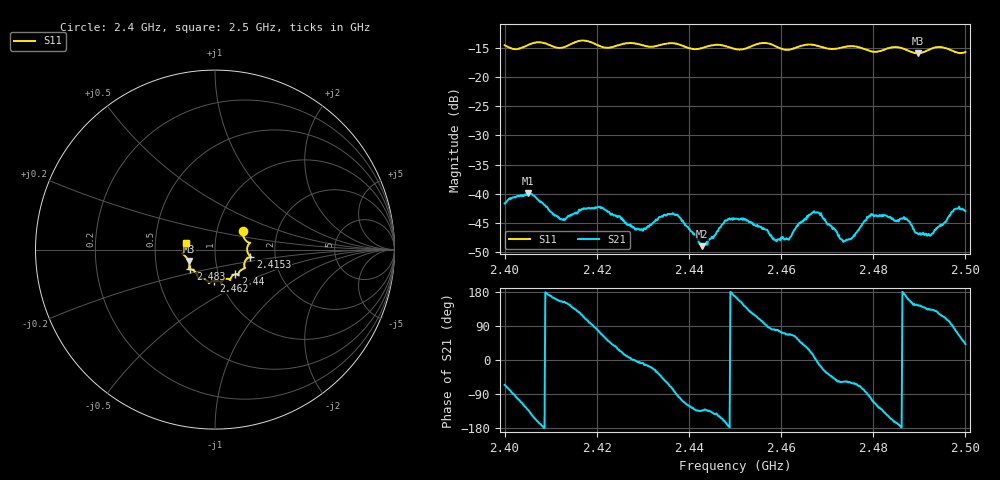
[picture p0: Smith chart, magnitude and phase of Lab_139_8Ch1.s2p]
# Hz S RI R 50
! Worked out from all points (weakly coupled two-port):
!   601 points, 2.4 GHz to 2.5 GHz, reference 50 ohm
!   highest |S21| = -39.95 dB at 2.405 GHz (marker M1); lowest = -49.0 dB at 2.4428 GHz (marker M2)
!   lowest |S11| = -15.9 dB at 2.4897 GHz (marker M3), VSWR 1.38, Z = 36.9 - j4.81 ohm
!   |S11| at or under -10 dB: start of sweep to end of sweep
!   S12 and S22 are empty: the file has one direction only
!   S11 on the Smith chart (normalised r, x): 2.4 GHz: 1.33, +0.29; 2.4153 GHz: 1.48, -0.12; 2.44 GHz: 1.20, -0.34; 2.462 GHz: 0.93, -0.33; 2.483 GHz: 0.74, -0.17; 2.5 GHz: 0.72, +0.06
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2.4e9  0.1552 0.1063  0.00339 -0.00752  0 0  0 0
2.405e9  0.1841 0.0406  -0.00657 -0.00762  0 0  0 0
2.412167e9  0.1788 -0.00252  -0.00545 0.00256  0 0  0 0
2.415333e9  0.1967 -0.0387  -0.00469 0.00488  0 0  0 0
2.416667e9  0.2023 -0.0428  -0.00361 0.00643  0 0  0 0
2.420833e9  0.1765 -0.0522  0.00252 0.00708  0 0  0 0
2.428833e9  0.1626 -0.1049  0.005 -0.000463  0 0  0 0
2.433333e9  0.1312 -0.1336  0.00501 -0.00351  0 0  0 0
2.437e9  0.132 -0.1437  0.00053 -0.00654  0 0  0 0
2.44e9  0.1138 -0.1368  -0.00253 -0.00428  0 0  0 0
2.442833e9  0.0899 -0.1536  -0.00245 -0.00256  0 0  0 0
2.45e9  0.0648 -0.1625  -0.00594 0.00122  0 0  0 0
2.458667e9  0.033 -0.1832  0.000716 0.00395  0 0  0 0
2.462e9  -0.0052 -0.1732  0.00159 0.00393  0 0  0 0
2.466667e9  -0.0341 -0.1875  0.00646 0.00209  0 0  0 0
2.473833e9  -0.0865 -0.1605  0.00213 -0.00328  0 0  0 0
2.479167e9  -0.1044 -0.1322  -0.000748 -0.00644  0 0  0 0
2.483e9  -0.1377 -0.1096  -0.00526 -0.00365  0 0  0 0
2.483333e9  -0.1403 -0.1094  -0.00537 -0.00329  0 0  0 0
2.487167e9  -0.1432 -0.0956  -0.00593 0.00136  0 0  0 0
2.489667e9  -0.1475 -0.0635  -0.00371 0.00261  0 0  0 0
2.5e9  -0.1597 0.0391  0.00528 0.00474  0 0  0 0
